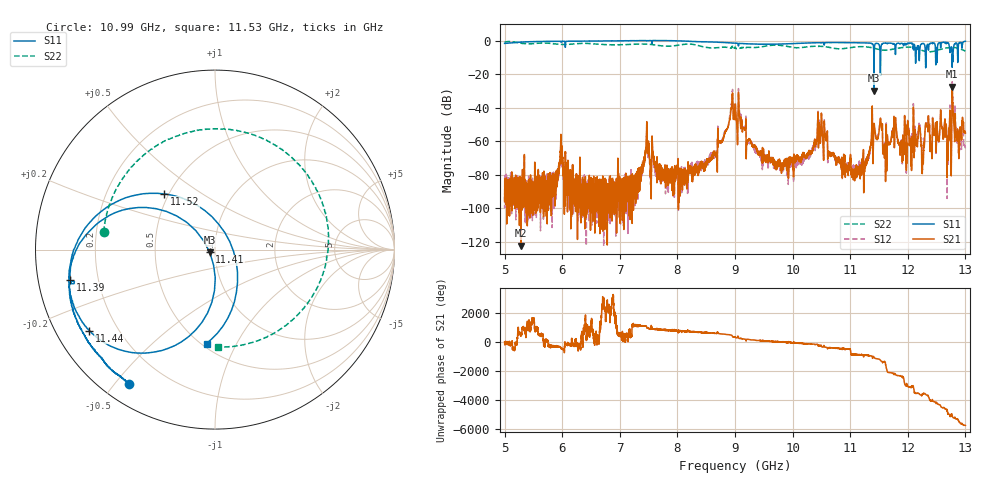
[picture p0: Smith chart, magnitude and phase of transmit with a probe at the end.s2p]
!Agilent Technologies,E8362C,MY49020356,A.09.42.23
!Agilent E8362C: A.09.42.23
!Date: Saturday, September 11, 2021 02:13:21
!Correction: S11(Full 2 Port(1,2))
!S21(Full 2 Port(1,2))
!S12(Full 2 Port(1,2))
!S22(Full 2 Port(1,2))
!S2P File: Measurements: S11, S21, S12, S22:
# Hz S  MA  R 50
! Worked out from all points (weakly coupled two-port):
!   12801 points, 5 GHz to 13 GHz, reference 50 ohm
!   highest |S21| = -27.24 dB at 12.77 GHz (marker M1); lowest = -122.3 dB at 5.281 GHz (marker M2)
!   lowest |S11| = -29.6 dB at 11.41 GHz (marker M3), VSWR 1.07, Z = 47.1 - j1.41 ohm
!   |S11| at or under -10 dB: 11.52053 GHz to 11.52825 GHz (7.714 MHz wide, 0.0669 % of centre); 12.1327 GHz to 12.13907 GHz (6.367 MHz wide, 0.0525 % of centre); 12.30692 GHz to 12.31481 GHz (7.885 MHz wide, 0.064 % of centre)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
!   |S22| runs from -6.5 to -0.3 dB; largest |S21 - S12| = 0.018
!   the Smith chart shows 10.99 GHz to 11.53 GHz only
!   S11 on the Smith chart (normalised r, x): 10.99 GHz: 0.08, -0.54; 11.39 GHz: 0.10, -0.10; 11.41 GHz: 0.94, -0.03; 11.44 GHz: 0.10, -0.29; 11.52 GHz: 0.47, +0.36; 11.53 GHz: 0.53, -0.76
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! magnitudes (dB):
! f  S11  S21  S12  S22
! 5 GHz  -1.5  -95.5  -93.0  -0.8
! 5.281 GHz  -0.7  -122.3  -100.5  -1.4
! 6.334 GHz  -0.1  -95.1  -89.6  -1.5
! 7.315 GHz  0.2  -86.0  -93.2  -1.9
! 7.476 GHz  0.2  -61.5  -63.4  -1.9
! 7.667 GHz  0.2  -76.5  -75.9  -2.7
! 8.473 GHz  -0.5  -74.0  -74.5  -3.7
! 9 GHz  -1.3  -47.1  -46.0  -4.2
! 9.465 GHz  -2.0  -68.1  -73.8  -3.5
! 10.33 GHz  -1.1  -66.6  -64.4  -3.3
! 10.47 GHz  -1.1  -51.7  -50.6  -3.2
! 10.99 GHz  -1.0  -74.4  -74.1  -4.0
! 11.27 GHz  -1.2  -72.6  -73.4  -3.5
! 11.39 GHz  -1.7  -48.5  -47.9  -4.1
! 11.41 GHz  -29.6  -49.3  -50.3  -4.3
! 11.44 GHz  -1.6  -55.8  -56.5  -4.6
! 11.52 GHz  -7.5  -47.4  -47.5  -5.2
! 11.53 GHz  -5.6  -47.5  -47.9  -5.3
! 11.67 GHz  -1.3  -61.8  -60.9  -5.4
! 12.72 GHz  -2.9  -52.8  -56.0  -4.0
! 12.77 GHz  -15.1  -27.2  -24.3  -4.0
! 13 GHz  -0.2  -55.1  -63.7  -6.1
